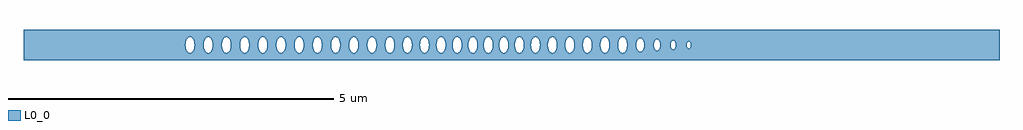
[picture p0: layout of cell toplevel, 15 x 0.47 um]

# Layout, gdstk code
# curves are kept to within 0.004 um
import gdstk
lib = gdstk.Library(unit=1e-6, precision=1e-09)
def P(c, l, *ps):  # polygons
    for p in ps: c.add(gdstk.Polygon(p, *l))
L0_0 = (0, 0)

toplevel = lib.new_cell('toplevel')
P(toplevel, L0_0, [(-4.451,0.016),(-4.438,0.072),(-4.438,0.235),(-7.5,0.235),(-7.5,-0.016),(-5.011,-0.016),(-5.008,0.038),(-4.998,0.073),(-4.975,0.109),(-4.945,0.124),(-4.919,0.118),(-4.889,0.085),(-4.875,0.046),(-4.87,0),(-4.732,0),(-4.727,0.046),(-4.712,0.085),(-4.695,0.109),(-4.666,0.124),(-4.639,0.118),(-4.616,0.096),(-4.599,0.06),(-4.591,0.016),(-4.594,-0.038),(-4.604,-0.073),(-4.627,-0.109),(-4.657,-0.124),(-4.683,-0.118),(-4.706,-0.096),(-4.727,-0.046),(-4.732,0),(-4.87,0),(-4.875,-0.046),(-4.889,-0.085),(-4.907,-0.109),(-4.936,-0.124),(-4.963,-0.118),(-4.986,-0.096),(-5.003,-0.06),(-5.011,-0.016),(-7.5,-0.016),(-7.5,-0.235),(-4.438,-0.235),(-4.438,-0.073),(-4.45,-0.031)],
  [(-3.891,0.023),(-3.882,0.066),(-3.86,0.105),(-3.835,0.122),(-3.813,0.123),(-3.813,0.235),(-4.438,0.235),(-4.438,0.073),(-4.423,0.1),(-4.403,0.118),(-4.377,0.124),(-4.355,0.115),(-4.336,0.096),(-4.324,0.073),(-4.313,0.031),(-4.312,-0.016),(-4.172,-0.016),(-4.169,0.038),(-4.159,0.073),(-4.136,0.109),(-4.106,0.124),(-4.08,0.118),(-4.053,0.09),(-4.036,0.046),(-4.031,0.008),(-4.033,-0.031),(-4.047,-0.079),(-4.068,-0.109),(-4.097,-0.124),(-4.123,-0.118),(-4.147,-0.096),(-4.159,-0.073),(-4.172,-0.016),(-4.312,-0.016),(-4.32,-0.06),(-4.336,-0.096),(-4.355,-0.115),(-4.377,-0.124),(-4.395,-0.122),(-4.415,-0.109),(-4.438,-0.073),(-4.438,-0.235),(-3.813,-0.235),(-3.813,-0.123),(-3.844,-0.118),(-3.873,-0.085),(-3.888,-0.046)],
  [(-3.331,0.031),(-3.308,0.096),(-3.289,0.115),(-3.267,0.124),(-3.249,0.122),(-3.225,0.105),(-3.208,0.079),(-3.197,0.046),(-3.197,0.235),(-3.813,0.235),(-3.813,0.123),(-3.784,0.105),(-3.765,0.073),(-3.756,0.046),(-3.752,-0.008),(-3.613,-0.008),(-3.611,0.031),(-3.597,0.079),(-3.576,0.109),(-3.547,0.124),(-3.521,0.118),(-3.497,0.096),(-3.485,0.073),(-3.472,0.016),(-3.475,-0.038),(-3.485,-0.073),(-3.508,-0.109),(-3.538,-0.124),(-3.564,-0.118),(-3.591,-0.09),(-3.608,-0.046),(-3.613,-0.008),(-3.752,-0.008),(-3.756,-0.046),(-3.771,-0.085),(-3.788,-0.109),(-3.813,-0.123),(-3.813,-0.235),(-3.197,-0.235),(-3.197,-0.046),(-3.211,-0.085),(-3.229,-0.109),(-3.258,-0.124),(-3.284,-0.118),(-3.308,-0.096),(-3.32,-0.073),(-3.333,-0.016)],
  [(-2.492,-0.031),(-2.491,0.235),(-3.197,0.235),(-3.193,-0.016),(-3.053,-0.016),(-3.05,0.038),(-3.04,0.073),(-3.017,0.109),(-2.987,0.124),(-2.961,0.118),(-2.938,0.096),(-2.917,0.046),(-2.913,-0.008),(-2.774,-0.008),(-2.769,0.046),(-2.758,0.079),(-2.737,0.109),(-2.708,0.124),(-2.681,0.118),(-2.658,0.096),(-2.641,0.06),(-2.633,0.016),(-2.636,-0.038),(-2.646,-0.073),(-2.669,-0.109),(-2.699,-0.124),(-2.725,-0.118),(-2.748,-0.096),(-2.765,-0.06),(-2.774,-0.008),(-2.913,-0.008),(-2.917,-0.046),(-2.938,-0.096),(-2.961,-0.118),(-2.978,-0.124),(-3.005,-0.118),(-3.028,-0.096),(-3.045,-0.06),(-3.053,-0.016),(-3.193,-0.016),(-3.197,-0.235),(-2.491,-0.235)],
  [(-2.491,-0.235),(-1.891,-0.235),(-1.891,-0.118),(-1.924,-0.079),(-1.94,-0.008),(-1.938,0.031),(-1.924,0.079),(-1.891,0.118),(-1.891,0.235),(-2.491,0.235),(-2.491,0.038),(-2.481,0.073),(-2.461,0.105),(-2.437,0.122),(-2.419,0.124),(-2.39,0.109),(-2.369,0.079),(-2.356,0.038),(-2.354,-0.016),(-2.215,-0.016),(-2.212,0.038),(-2.196,0.085),(-2.171,0.115),(-2.14,0.124),(-2.111,0.109),(-2.093,0.085),(-2.079,0.046),(-2.074,0.008),(-2.076,-0.031),(-2.09,-0.079),(-2.111,-0.109),(-2.14,-0.124),(-2.166,-0.118),(-2.19,-0.096),(-2.202,-0.073),(-2.215,-0.016),(-2.354,-0.016),(-2.358,-0.046),(-2.375,-0.09),(-2.39,-0.109),(-2.419,-0.124),(-2.437,-0.122),(-2.461,-0.105),(-2.481,-0.073),(-2.491,-0.039)],
  [(-1.882,0.122),(-1.847,0.118),(-1.824,0.096),(-1.805,0.053),(-1.799,-0.008),(-1.67,-0.008),(-1.667,0.038),(-1.645,0.096),(-1.613,0.122),(-1.586,0.122),(-1.562,0.105),(-1.545,0.079),(-1.531,0.031),(-1.529,-0.008),(-1.534,-0.046),(-1.548,-0.085),(-1.566,-0.109),(-1.595,-0.124),(-1.621,-0.118),(-1.645,-0.096),(-1.665,-0.046),(-1.67,-0.008),(-1.799,-0.008),(-1.805,-0.053),(-1.831,-0.105),(-1.86,-0.123),(-1.891,-0.118),(-1.891,-0.235),(-1.296,-0.235),(-1.296,-0.1),(-1.315,-0.118),(-1.333,-0.124),(-1.35,-0.122),(-1.371,-0.109),(-1.397,-0.066),(-1.408,-0.008),(-1.399,0.06),(-1.371,0.109),(-1.35,0.122),(-1.333,0.124),(-1.315,0.118),(-1.296,0.1),(-1.296,0.235),(-1.891,0.235),(-1.891,0.118)],
  [(-0.905,0.016),(-0.901,0.046),(-0.884,0.09),(-0.869,0.109),(-0.84,0.124),(-0.814,0.118),(-0.791,0.096),(-0.778,0.073),(-0.766,0.023),(-0.766,0.235),(-1.296,0.235),(-1.296,0.1),(-1.273,0.053),(-1.267,-0.016),(-1.153,-0.016),(-1.15,0.038),(-1.14,0.073),(-1.117,0.109),(-1.087,0.124),(-1.061,0.118),(-1.034,0.09),(-1.017,0.046),(-1.012,0.008),(-1.014,-0.031),(-1.028,-0.079),(-1.049,-0.109),(-1.078,-0.124),(-1.104,-0.118),(-1.128,-0.096),(-1.14,-0.073),(-1.153,-0.016),(-1.267,-0.016),(-1.275,-0.06),(-1.296,-0.1),(-1.296,-0.235),(-0.766,-0.235),(-0.766,-0.026),(-0.778,-0.073),(-0.801,-0.109),(-0.822,-0.122),(-0.849,-0.122),(-0.873,-0.105),(-0.89,-0.079),(-0.904,-0.031)],
  [(-0.167,-0.235),(-0.167,-0.09),(-0.189,-0.016),(-0.186,0.038),(-0.167,0.09),(-0.167,0.235),(-0.766,0.235),(-0.766,-0.016),(-0.664,-0.016),(-0.661,0.038),(-0.651,0.073),(-0.628,0.109),(-0.598,0.124),(-0.572,0.118),(-0.543,0.085),(-0.528,0.046),(-0.524,-0.016),(-0.426,-0.016),(-0.423,0.038),(-0.413,0.073),(-0.39,0.109),(-0.36,0.124),(-0.334,0.118),(-0.304,0.085),(-0.29,0.046),(-0.285,0),(-0.29,-0.046),(-0.304,-0.085),(-0.322,-0.109),(-0.351,-0.124),(-0.378,-0.118),(-0.401,-0.096),(-0.418,-0.06),(-0.426,-0.016),(-0.524,-0.016),(-0.532,-0.061),(-0.549,-0.096),(-0.572,-0.118),(-0.59,-0.124),(-0.616,-0.118),(-0.639,-0.096),(-0.656,-0.06),(-0.664,-0.016),(-0.766,-0.016),(-0.766,-0.235)],
  [(-0.16,0.1),(-0.145,0.115),(-0.123,0.124),(-0.105,0.122),(-0.081,0.105),(-0.064,0.079),(-0.053,0.046),(-0.049,-0.016),(0.051,-0.016),(0.057,0.053),(0.076,0.096),(0.099,0.118),(0.134,0.122),(0.155,0.109),(0.173,0.085),(0.187,0.046),(0.192,0),(0.187,-0.046),(0.173,-0.085),(0.155,-0.109),(0.134,-0.122),(0.108,-0.122),(0.083,-0.105),(0.059,-0.06),(0.051,-0.016),(-0.049,-0.016),(-0.067,-0.085),(-0.085,-0.109),(-0.105,-0.122),(-0.123,-0.124),(-0.14,-0.118),(-0.167,-0.09),(-0.167,-0.235),(0.382,-0.235),(0.382,-0.122),(0.356,-0.122),(0.331,-0.105),(0.307,-0.06),(0.299,-0.016),(0.305,0.053),(0.324,0.096),(0.347,0.118),(0.382,0.122),(0.382,0.235),(-0.167,0.235),(-0.167,0.09)],
  [(0.826,0.016),(0.844,0.085),(0.862,0.109),(0.882,0.122),(0.909,0.122),(0.93,0.109),(0.953,0.073),(0.961,0.046),(0.961,0.235),(0.382,0.235),(0.382,0.122),(0.407,0.105),(0.429,0.066),(0.439,-0.016),(0.558,-0.016),(0.561,0.038),(0.571,0.073),(0.594,0.109),(0.624,0.124),(0.65,0.118),(0.677,0.09),(0.694,0.046),(0.699,0.008),(0.697,-0.031),(0.683,-0.079),(0.662,-0.109),(0.633,-0.124),(0.607,-0.118),(0.583,-0.096),(0.571,-0.073),(0.558,-0.016),(0.439,-0.016),(0.435,-0.046),(0.42,-0.085),(0.403,-0.109),(0.382,-0.122),(0.382,-0.235),(0.961,-0.235),(0.961,-0.046),(0.953,-0.073),(0.93,-0.109),(0.909,-0.122),(0.882,-0.122),(0.858,-0.105),(0.841,-0.079),(0.827,-0.031)],
  [(0.965,-0.023),(0.961,-0.235),(1.643,-0.235),(1.643,-0.046),(1.638,-0.016),(1.643,0.235),(0.961,0.235),(0.966,-0.008),(1.095,-0.008),(1.097,0.031),(1.111,0.079),(1.132,0.109),(1.161,0.124),(1.196,0.112),(1.217,0.085),(1.233,0.038),(1.236,-0.008),(1.365,-0.008),(1.368,0.038),(1.391,0.096),(1.422,0.122),(1.44,0.124),(1.457,0.118),(1.49,0.079),(1.504,0.031),(1.506,-0.008),(1.49,-0.079),(1.473,-0.105),(1.449,-0.122),(1.422,-0.122),(1.391,-0.096),(1.374,-0.06),(1.365,-0.008),(1.236,-0.008),(1.233,-0.038),(1.217,-0.085),(1.2,-0.109),(1.17,-0.124),(1.144,-0.118),(1.117,-0.09),(1.1,-0.046),(1.095,-0.008),(0.966,-0.008)],
  [(2.188,0.017),(2.2,0.061),(2.228,0.088),(2.228,0.235),(1.643,0.235),(1.643,0.046),(1.67,0.105),(1.695,0.122),(1.713,0.124),(1.742,0.109),(1.765,0.073),(1.774,0.046),(1.778,-0.013),(1.918,-0.013),(1.929,0.063),(1.949,0.093),(1.978,0.107),(2.001,0.099),(2.02,0.078),(2.035,0.039),(2.039,0.007),(2.035,-0.039),(2.023,-0.073),(2.008,-0.093),(1.986,-0.106),(1.963,-0.103),(1.937,-0.078),(1.918,-0.013),(1.778,-0.013),(1.77,-0.06),(1.753,-0.096),(1.73,-0.118),(1.713,-0.124),(1.695,-0.122),(1.67,-0.105),(1.643,-0.049),(1.643,-0.235),(2.228,-0.235),(2.228,-0.088),(2.21,-0.075),(2.196,-0.052),(2.188,-0.022)],
  [(2.234,0.089),(2.253,0.085),(2.27,0.069),(2.286,0.028),(2.288,0),(2.444,0),(2.455,0.049),(2.47,0.067),(2.488,0.072),(2.507,0.061),(2.52,0.038),(2.525,-0.01),(2.695,-0.01),(2.702,0.035),(2.722,0.054),(2.735,0.052),(2.747,0.04),(2.756,-0.01),(2.747,-0.04),(2.729,-0.054),(2.707,-0.044),(2.695,-0.01),(2.525,-0.01),(2.52,-0.038),(2.507,-0.061),(2.483,-0.072),(2.47,-0.067),(2.455,-0.049),(2.444,0),(2.288,0),(2.286,-0.028),(2.27,-0.069),(2.247,-0.088),(2.228,-0.088),(2.228,-0.235),(7.5,-0.235),(7.5,0.235),(2.228,0.235),(2.228,0.088)])

lib.write_gds('toplevel.gds')
